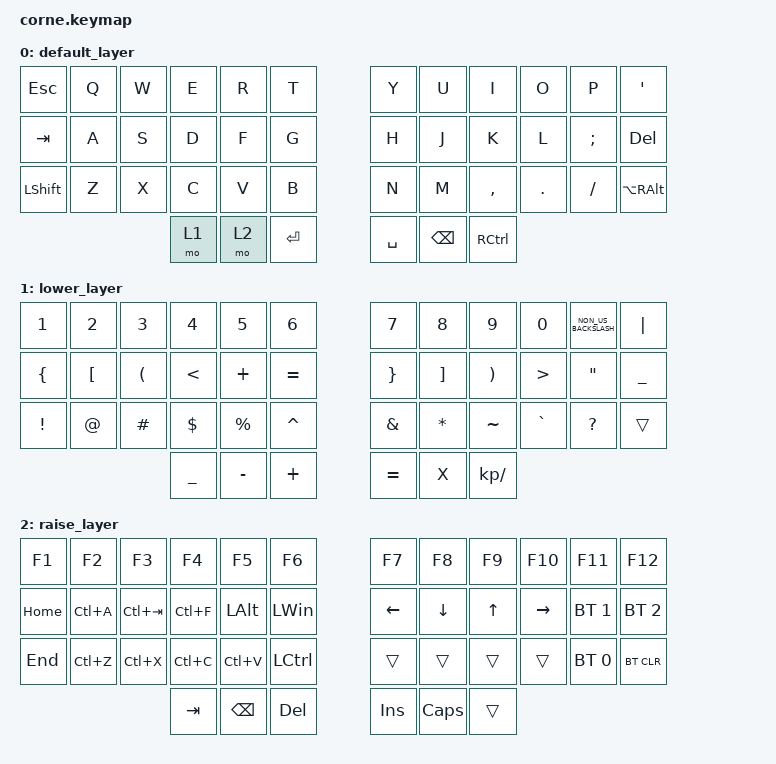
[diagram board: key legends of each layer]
/*
 * Copyright (c) 2020 The ZMK Contributors
 *
 * SPDX-License-Identifier: MIT
 */

#include <behaviors.dtsi>
#include <dt-bindings/zmk/bt.h>
#include <dt-bindings/zmk/keys.h>

/ {
    macros {
        menorigual: menorigual {
            compatible = "zmk,behavior-macro";
            #binding-cells = <0>;
            bindings = <&kp EQUAL &kp GREATER_THAN>;
            label = "MENORIGUAL";
        };
    };

    keymap {
        compatible = "zmk,keymap";

        default_layer {
            // -----------------------------------------------------------------------------------------
            // |  TAB |  Q  |  W  |  E  |  R  |  T  |   |  Y  |  U   |  I  |  O  |  P  | BKSP |
            // | CTRL |  A  |  S  |  D  |  F  |  G  |   |  H  |  J   |  K  |  L  |  ;  |  '   |
            // | SHFT |  Z  |  X  |  C  |  V  |  B  |   |  N  |  M   |  ,  |  .  |  /  | ESC  |
            //                    | GUI | LWR | SPC |   | ENT | RSE  | ALT |

            bindings = <
&kp ESCAPE  &kp Q  &kp W  &kp E  &kp R  &kp T        &kp Y      &kp U          &kp I      &kp O    &kp P          &kp SQT
&kp TAB     &kp A  &kp S  &kp D  &kp F  &kp G        &kp H      &kp J          &kp K      &kp L    &kp SEMICOLON  &kp DELETE
&kp LSHFT   &kp Z  &kp X  &kp C  &kp V  &kp B        &kp N      &kp M          &kp COMMA  &kp DOT  &kp FSLH       &kp LA(RIGHT_ALT)
                          &mo 1  &mo 2  &kp ENTER    &kp SPACE  &kp BACKSPACE  &kp RCTRL
            >;
        };

        lower_layer {
            // -----------------------------------------------------------------------------------------
            // |  TAB |  1  |  2  |  3  |  4  |  5  |   |  6  |  7  |  8  |  9  |  0  | BKSP |
            // | BTCLR| BT1 | BT2 | BT3 | BT4 | BT5 |   | LFT | DWN |  UP | RGT |     |      |
            // | SHFT |     |     |     |     |     |   |     |     |     |     |     |      |
            //                    | GUI |     | SPC |   | ENT |     | ALT |

            bindings = <
&kp NUMBER_1     &kp NUMBER_2      &kp NUMBER_3          &kp NUMBER_4    &kp N5       &kp NUMBER_6    &kp N7           &kp N8             &kp N9                 &kp N0            &kp NON_US_BACKSLASH  &kp PIPE
&kp LEFT_BRACE   &kp LEFT_BRACKET  &kp LEFT_PARENTHESIS  &kp LESS_THAN   &kp PLUS     &kp EQUAL       &kp RIGHT_BRACE  &kp RIGHT_BRACKET  &kp RIGHT_PARENTHESIS  &kp GREATER_THAN  &kp DOUBLE_QUOTES     &kp UNDERSCORE
&kp EXCLAMATION  &kp AT_SIGN       &kp HASH              &kp DOLLAR      &kp PERCENT  &kp CARET       &kp AMPS         &kp ASTRK          &kp TILDE              &kp GRAVE         &kp QUESTION          &trans
                                                         &kp UNDERSCORE  &kp MINUS    &kp PLUS        &kp EQUAL        &kp X              &kp KP_DIVIDE
            >;
        };

        raise_layer {
            // -----------------------------------------------------------------------------------------
            // |  TAB |  !  |  @  |  #  |  $  |  %  |   |  ^  |  &  |  *  |  (  |  )  | BKSP |
            // | CTRL |     |     |     |     |     |   |  -  |  =  |  [  |  ]  |  \  |  `   |
            // | SHFT |     |     |     |     |     |   |  _  |  +  |  {  |  }  | "|" |  ~   |
            //                    | GUI |     | SPC |   | ENT |     | ALT |

            bindings = <
&kp F1    &kp F2     &kp F3       &kp F4     &kp F5         &kp F6          &kp F7          &kp F8          &kp F9        &kp F10          &kp F11       &kp F12
&kp HOME  &kp LC(A)  &kp LC(TAB)  &kp LC(F)  &kp LEFT_ALT   &kp LEFT_WIN    &kp LEFT_ARROW  &kp DOWN_ARROW  &kp UP_ARROW  &kp RIGHT_ARROW  &bt BT_SEL 1  &bt BT_SEL 2
&kp END   &kp LC(Z)  &kp LC(X)    &kp LC(C)  &kp LC(V)      &kp LCTRL       &trans          &trans          &trans        &trans           &bt BT_SEL 0  &bt BT_CLR
                                  &kp TAB    &kp BACKSPACE  &kp DELETE      &kp INS         &kp CAPS        &trans
            >;
        };
    };
};
